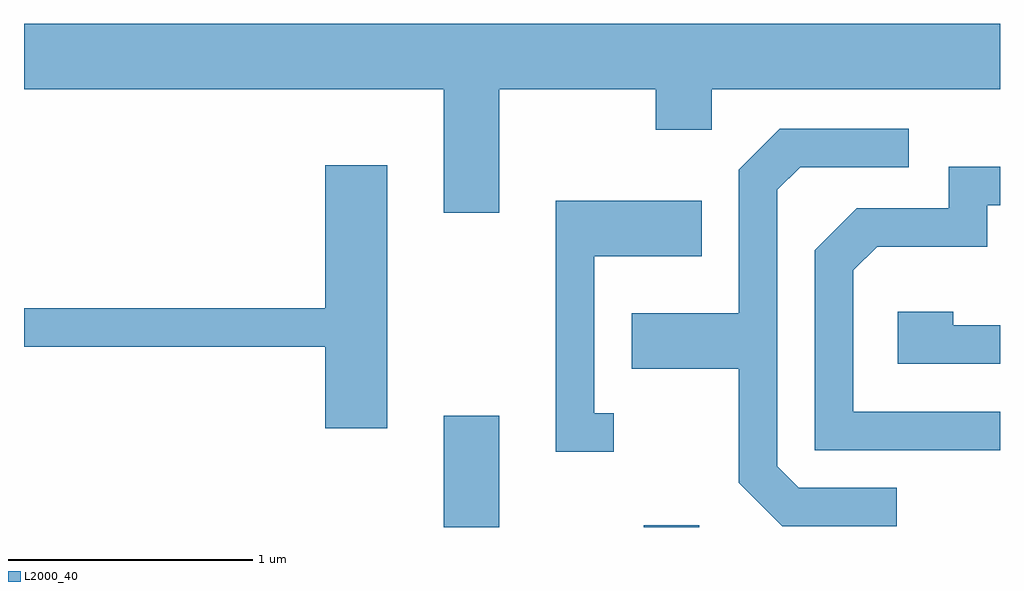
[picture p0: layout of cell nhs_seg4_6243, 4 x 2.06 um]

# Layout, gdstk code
import gdstk
lib = gdstk.Library(unit=1e-6, precision=1e-09)
def R(c, l, rs):  # rectangles x0, y0, x1, y1
    for r in rs: c.add(gdstk.rectangle(r[:2], r[2:], *l))
def P(c, l, *ps):  # polygons
    for p in ps: c.add(gdstk.Polygon(p, *l))
L2000_40 = (2000, 40)

nhs_seg4_6243 = lib.new_cell('nhs_seg4_6243')
R(nhs_seg4_6243, L2000_40, [(369.331,1363.982,369.559,1364.439), (370.151,1363.982,370.379,1363.989)])
P(nhs_seg4_6243, L2000_40, [(369.559,1365.776),(370.201,1365.776),(370.201,1365.611),(370.429,1365.611),(370.429,1365.776),(371.611,1365.776),(371.611,1366.044),(367.611,1366.044),(367.611,1365.776),(369.331,1365.776),(369.331,1365.271),(369.559,1365.271)],
  [(371.188,1364.144),(370.787,1364.144),(370.699,1364.232),(370.699,1365.364),(370.792,1365.456),(371.238,1365.456),(371.238,1365.614),(370.709,1365.614),(370.541,1365.447),(370.541,1364.859),(370.101,1364.859),(370.101,1364.631),(370.541,1364.631),(370.541,1364.164),(370.719,1363.986),(371.188,1363.986)],
  [(369.099,1365.464),(368.846,1365.464),(368.846,1364.879),(367.611,1364.879),(367.611,1364.721),(368.846,1364.721),(368.846,1364.386),(369.099,1364.386)],
  [(371.611,1364.454),(371.009,1364.454),(371.009,1365.034),(371.107,1365.131),(371.559,1365.131),(371.559,1365.301),(371.611,1365.301),(371.611,1365.459),(371.401,1365.459),(371.401,1365.289),(371.024,1365.289),(370.851,1365.117),(370.851,1364.296),(371.611,1364.296)],
  [(370.028,1364.449),(369.949,1364.449),(369.949,1365.091),(370.389,1365.091),(370.389,1365.319),(369.791,1365.319),(369.791,1364.291),(370.028,1364.291)],
  [(371.611,1364.809),(371.419,1364.809),(371.419,1364.864),(371.191,1364.864),(371.191,1364.651),(371.611,1364.651)])

lib.write_gds('nhs_seg4_6243.gds')
